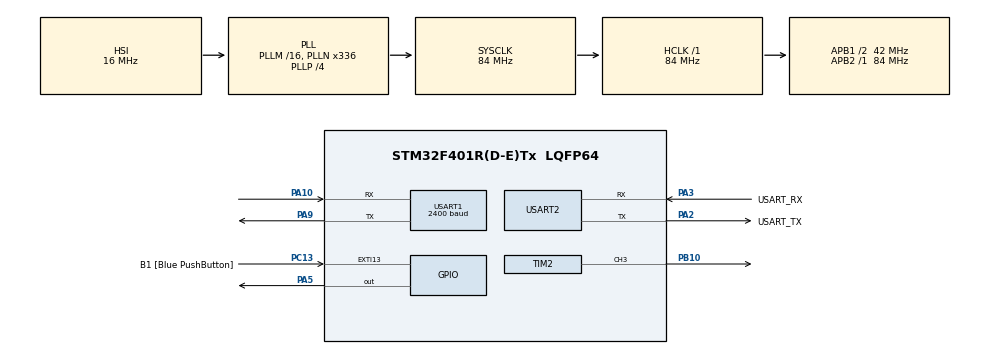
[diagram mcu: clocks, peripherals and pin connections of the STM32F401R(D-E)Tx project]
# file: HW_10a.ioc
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Mcu.Family=STM32F4
Mcu.Name=STM32F401R(D-E)Tx
Mcu.Package=LQFP64
NVIC.PriorityGroup=NVIC_PRIORITYGROUP_0
NVIC.TIM4_IRQn=true\:0\:0\:false\:false\:true\:true\:true\:true
NVIC.USART1_IRQn=true\:0\:0\:false\:false\:true\:true\:true\:true
NVIC.USART2_IRQn=true\:0\:0\:false\:false\:true\:true\:true\:true
PA10.Mode=Asynchronous
PA10.Signal=USART1_RX
PA13.GPIO_Label=TMS
PA13.Mode=Serial_Wire
PA13.Signal=SYS_JTMS-SWDIO
PA14.GPIO_Label=TCK
PA14.Mode=Serial_Wire
PA14.Signal=SYS_JTCK-SWCLK
PA2.GPIO_Label=USART_TX
PA2.GPIO_Mode=GPIO_MODE_AF_PP
PA2.GPIO_PuPd=GPIO_NOPULL
PA2.GPIO_Speed=GPIO_SPEED_FREQ_LOW
PA2.Mode=Asynchronous
PA2.Signal=USART2_TX
PA3.GPIO_Label=USART_RX
PA3.GPIO_Mode=GPIO_MODE_AF_PP
PA3.GPIO_PuPd=GPIO_NOPULL
PA3.GPIO_Speed=GPIO_SPEED_FREQ_LOW
PA3.Mode=Asynchronous
PA3.Signal=USART2_RX
PA5.GPIO_Mode=GPIO_MODE_OUTPUT_PP
PA5.GPIO_PuPd=GPIO_NOPULL
PA5.GPIO_Speed=GPIO_SPEED_FREQ_LOW
PA5.Signal=GPIO_Output
PA9.Mode=Asynchronous
PA9.Signal=USART1_TX
PB10.Signal=S_TIM2_CH3
PB3.GPIO_Label=SWO
PB3.Signal=SYS_JTDO-SWO
PC13-ANTI_TAMP.GPIO_Label=B1 [Blue PushButton]
PC13-ANTI_TAMP.GPIO_ModeDefaultEXTI=GPIO_MODE_IT_FALLING
PC13-ANTI_TAMP.GPIO_PuPd=GPIO_NOPULL
PC13-ANTI_TAMP.Signal=GPXTI13
PC14-OSC32_IN.Mode=LSE-External-Oscillator
PC14-OSC32_IN.Signal=RCC_OSC32_IN
PC15-OSC32_OUT.Mode=LSE-External-Oscillator
PC15-OSC32_OUT.Signal=RCC_OSC32_OUT
PH0\ -\ OSC_IN.Mode=HSE-External-Clock-Source
PH0\ -\ OSC_IN.Signal=RCC_OSC_IN
PH1\ -\ OSC_OUT.Mode=HSE-External-Clock-Source
PH1\ -\ OSC_OUT.Signal=RCC_OSC_OUT
ProjectManager.HeapSize=0x200
ProjectManager.StackSize=0x400
ProjectManager.TargetToolchain=STM32CubeIDE
RCC.48MHZClocksFreq_Value=48000000
RCC.AHBFreq_Value=84000000
RCC.APB1CLKDivider=RCC_HCLK_DIV2
RCC.APB1Freq_Value=42000000
RCC.APB1TimFreq_Value=84000000
RCC.APB2Freq_Value=84000000
RCC.APB2TimFreq_Value=84000000
RCC.CortexFreq_Value=84000000
RCC.HCLKFreq_Value=84000000
RCC.HSE_VALUE=8000000
RCC.HSI_VALUE=16000000
RCC.PLLN=336
RCC.PLLP=RCC_PLLP_DIV4
RCC.PLLQ=7
RCC.SYSCLKFreq_VALUE=84000000
RCC.SYSCLKSource=RCC_SYSCLKSOURCE_PLLCLK
RCC.VCOOutputFreq_Value=336000000
SH.S_TIM2_CH3.0=TIM2_CH3,PWM Generation3 CH3
TIM2.Channel-PWM\ Generation3\ CH3=TIM_CHANNEL_3
TIM2.Period=2210
TIM2.Pulse-PWM\ Generation3\ CH3=1105
TIM4.Period=34999
USART1.BaudRate=2400
USART1.Parity=PARITY_NONE
USART1.VirtualMode=VM_ASYNC
USART2.VirtualMode=VM_ASYNC
VP_TIM4_VS_ClockSourceINT.Mode=Internal
board=NUCLEO-F401RE

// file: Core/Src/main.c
/* USER CODE BEGIN Header */
/**
 ******************************************************************************
 * @file           : main.c
 * @brief          : Main program body
 ******************************************************************************
 * @attention
 *
 * Copyright (c) 2023 STMicroelectronics.
 * All rights reserved.
 *
 * This software is licensed under terms that can be found in the LICENSE file
 * in the root directory of this software component.
 * If no LICENSE file comes with this software, it is provided AS-IS.
 *
 ******************************************************************************
 */
/* USER CODE END Header */
#include "main.h"

/* USER CODE BEGIN Includes */
#include <memory.h>
/* USER CODE END Includes */

/* USER CODE BEGIN PTD */

// IR link control struct
struct IR_Ctrl
{
    int current_byte;
    int next_bit;
    uint8_t buffer[100];
    int buffer_length;
};

/* USER CODE END PTD */

TIM_HandleTypeDef htim2;
TIM_HandleTypeDef htim4;

UART_HandleTypeDef huart1;
UART_HandleTypeDef huart2;

/* USER CODE BEGIN PV */

// IR link
uint8_t uart1_buffer;
uint8_t uart2_buffer;
struct IR_Ctrl ir_ctrl;

/* USER CODE END PV */

void SystemClock_Config(void);
static void MX_GPIO_Init(void);
static void MX_USART2_UART_Init(void);
static void MX_TIM2_Init(void);
static void MX_USART1_UART_Init(void);
static void MX_TIM4_Init(void);
/* USER CODE BEGIN PFP */

void send_IR_string(uint8_t *data, int length);

/* USER CODE END PFP */

int main(void)
{

  /* MCU Configuration--------------------------------------------------------*/

  /* Reset of all peripherals, Initializes the Flash interface and the Systick. */
  HAL_Init();

  /* Configure the system clock */
  SystemClock_Config();

  /* Initialize all configured peripherals */
  MX_GPIO_Init();
  MX_USART2_UART_Init();
  MX_TIM2_Init();
  MX_USART1_UART_Init();
  MX_TIM4_Init();
  /* USER CODE BEGIN 2 */

  // Init the ir struct
  ir_ctrl.current_byte = 0;
  ir_ctrl.next_bit = -1;
  ir_ctrl.buffer_length = 0;

  // Start receiving the first byte via the IR link
  HAL_UART_Receive_IT(&huart1, &uart1_buffer, 1);

  // Start receiving the first byte from the serial terminal
  HAL_UART_Receive_IT(&huart2, &uart2_buffer, 1);

  /* USER CODE END 2 */

  /* Infinite loop */
  while (1)
  {

  }
}

void SystemClock_Config(void)
{
  RCC_OscInitTypeDef RCC_OscInitStruct = {0};
  RCC_ClkInitTypeDef RCC_ClkInitStruct = {0};

  /** Configure the main internal regulator output voltage
  */
  __HAL_RCC_PWR_CLK_ENABLE();
  __HAL_PWR_VOLTAGESCALING_CONFIG(PWR_REGULATOR_VOLTAGE_SCALE2);

  /** Initializes the RCC Oscillators according to the specified parameters
  * in the RCC_OscInitTypeDef structure.
  */
  RCC_OscInitStruct.OscillatorType = RCC_OSCILLATORTYPE_HSI;
  RCC_OscInitStruct.HSIState = RCC_HSI_ON;
  RCC_OscInitStruct.HSICalibrationValue = RCC_HSICALIBRATION_DEFAULT;
  RCC_OscInitStruct.PLL.PLLState = RCC_PLL_ON;
  RCC_OscInitStruct.PLL.PLLSource = RCC_PLLSOURCE_HSI;
  RCC_OscInitStruct.PLL.PLLM = 16;
  RCC_OscInitStruct.PLL.PLLN = 336;
  RCC_OscInitStruct.PLL.PLLP = RCC_PLLP_DIV4;
  RCC_OscInitStruct.PLL.PLLQ = 7;
  if (HAL_RCC_OscConfig(&RCC_OscInitStruct) != HAL_OK)
  {
    Error_Handler();
  }

  /** Initializes the CPU, AHB and APB buses clocks
  */
  RCC_ClkInitStruct.ClockType = RCC_CLOCKTYPE_HCLK|RCC_CLOCKTYPE_SYSCLK
                              |RCC_CLOCKTYPE_PCLK1|RCC_CLOCKTYPE_PCLK2;
  RCC_ClkInitStruct.SYSCLKSource = RCC_SYSCLKSOURCE_PLLCLK;
  RCC_ClkInitStruct.AHBCLKDivider = RCC_SYSCLK_DIV1;
  RCC_ClkInitStruct.APB1CLKDivider = RCC_HCLK_DIV2;
  RCC_ClkInitStruct.APB2CLKDivider = RCC_HCLK_DIV1;

  if (HAL_RCC_ClockConfig(&RCC_ClkInitStruct, FLASH_LATENCY_2) != HAL_OK)
  {
    Error_Handler();
  }
}

static void MX_TIM2_Init(void)
{

  TIM_MasterConfigTypeDef sMasterConfig = {0};
  TIM_OC_InitTypeDef sConfigOC = {0};

  htim2.Instance = TIM2;
  htim2.Init.Prescaler = 0;
  htim2.Init.CounterMode = TIM_COUNTERMODE_UP;
  htim2.Init.Period = 2210;
  htim2.Init.ClockDivision = TIM_CLOCKDIVISION_DIV1;
  htim2.Init.AutoReloadPreload = TIM_AUTORELOAD_PRELOAD_DISABLE;
  if (HAL_TIM_PWM_Init(&htim2) != HAL_OK)
  {
    Error_Handler();
  }
  sMasterConfig.MasterOutputTrigger = TIM_TRGO_RESET;
  sMasterConfig.MasterSlaveMode = TIM_MASTERSLAVEMODE_DISABLE;
  if (HAL_TIMEx_MasterConfigSynchronization(&htim2, &sMasterConfig) != HAL_OK)
  {
    Error_Handler();
  }
  sConfigOC.OCMode = TIM_OCMODE_PWM1;
  sConfigOC.Pulse = 1105;
  sConfigOC.OCPolarity = TIM_OCPOLARITY_HIGH;
  sConfigOC.OCFastMode = TIM_OCFAST_DISABLE;
  if (HAL_TIM_PWM_ConfigChannel(&htim2, &sConfigOC, TIM_CHANNEL_3) != HAL_OK)
  {
    Error_Handler();
  }
  HAL_TIM_MspPostInit(&htim2);

}

static void MX_TIM4_Init(void)
{

  TIM_ClockConfigTypeDef sClockSourceConfig = {0};
  TIM_MasterConfigTypeDef sMasterConfig = {0};

  htim4.Instance = TIM4;
  htim4.Init.Prescaler = 0;
  htim4.Init.CounterMode = TIM_COUNTERMODE_UP;
  htim4.Init.Period = 34999;
  htim4.Init.ClockDivision = TIM_CLOCKDIVISION_DIV1;
  htim4.Init.AutoReloadPreload = TIM_AUTORELOAD_PRELOAD_DISABLE;
  if (HAL_TIM_Base_Init(&htim4) != HAL_OK)
  {
    Error_Handler();
  }
  sClockSourceConfig.ClockSource = TIM_CLOCKSOURCE_INTERNAL;
  if (HAL_TIM_ConfigClockSource(&htim4, &sClockSourceConfig) != HAL_OK)
  {
    Error_Handler();
  }
  sMasterConfig.MasterOutputTrigger = TIM_TRGO_RESET;
  sMasterConfig.MasterSlaveMode = TIM_MASTERSLAVEMODE_DISABLE;
  if (HAL_TIMEx_MasterConfigSynchronization(&htim4, &sMasterConfig) != HAL_OK)
  {
    Error_Handler();
  }

}

static void MX_USART1_UART_Init(void)
{

  huart1.Instance = USART1;
  huart1.Init.BaudRate = 2400;
  huart1.Init.WordLength = UART_WORDLENGTH_8B;
  huart1.Init.StopBits = UART_STOPBITS_1;
  huart1.Init.Parity = UART_PARITY_NONE;
  huart1.Init.Mode = UART_MODE_TX_RX;
  huart1.Init.HwFlowCtl = UART_HWCONTROL_NONE;
  huart1.Init.OverSampling = UART_OVERSAMPLING_16;
  if (HAL_UART_Init(&huart1) != HAL_OK)
  {
    Error_Handler();
  }

}

static void MX_USART2_UART_Init(void)
{

  huart2.Instance = USART2;
  huart2.Init.BaudRate = 115200;
  huart2.Init.WordLength = UART_WORDLENGTH_8B;
  huart2.Init.StopBits = UART_STOPBITS_1;
  huart2.Init.Parity = UART_PARITY_NONE;
  huart2.Init.Mode = UART_MODE_TX_RX;
  huart2.Init.HwFlowCtl = UART_HWCONTROL_NONE;
  huart2.Init.OverSampling = UART_OVERSAMPLING_16;
  if (HAL_UART_Init(&huart2) != HAL_OK)
  {
    Error_Handler();
  }

}

static void MX_GPIO_Init(void)
{
  GPIO_InitTypeDef GPIO_InitStruct = {0};

  /* GPIO Ports Clock Enable */
  __HAL_RCC_GPIOC_CLK_ENABLE();
  __HAL_RCC_GPIOH_CLK_ENABLE();
  __HAL_RCC_GPIOA_CLK_ENABLE();
  __HAL_RCC_GPIOB_CLK_ENABLE();

  /*Configure GPIO pin Output Level */
  HAL_GPIO_WritePin(GPIOA, GPIO_PIN_5, GPIO_PIN_RESET);

  /*Configure GPIO pin : B1_Pin */
  GPIO_InitStruct.Pin = B1_Pin;
  GPIO_InitStruct.Mode = GPIO_MODE_IT_FALLING;
  GPIO_InitStruct.Pull = GPIO_NOPULL;
  HAL_GPIO_Init(B1_GPIO_Port, &GPIO_InitStruct);

  /*Configure GPIO pin : PA5 */
  GPIO_InitStruct.Pin = GPIO_PIN_5;
  GPIO_InitStruct.Mode = GPIO_MODE_OUTPUT_PP;
  GPIO_InitStruct.Pull = GPIO_NOPULL;
  GPIO_InitStruct.Speed = GPIO_SPEED_FREQ_LOW;
  HAL_GPIO_Init(GPIOA, &GPIO_InitStruct);

}

/* USER CODE BEGIN 4 */

void HAL_TIM_PeriodElapsedCallback(TIM_HandleTypeDef *htim)
{
    if (htim == &htim4)
    {
        if (ir_ctrl.current_byte >= 0 && ir_ctrl.current_byte < ir_ctrl.buffer_length)
        {
            if (ir_ctrl.next_bit == -1)
            {
                // Send the start bit (low)
                HAL_TIM_PWM_Start(&htim2, TIM_CHANNEL_3);
            }
            else if (ir_ctrl.next_bit < 8)
            {
                // Send a bit
                if (ir_ctrl.buffer[ir_ctrl.current_byte] >> ir_ctrl.next_bit & 0x1)
                {
                    // Stop the carrier to send a 1
                    HAL_TIM_PWM_Stop(&htim2, TIM_CHANNEL_3);
                }
                else
                {
                    // Start the carrier to send a 0
                    HAL_TIM_PWM_Start(&htim2, TIM_CHANNEL_3);
                }
            }
            else
            {
                // Send the STOP bit (high)
                HAL_TIM_PWM_Stop(&htim2, TIM_CHANNEL_3);
            }
            ir_ctrl.next_bit++;

            if (ir_ctrl.next_bit == 9 + 1)
            {
                // Reset the bit and increment the byte
                ir_ctrl.next_bit = -1;
                ir_ctrl.current_byte++;
            }

            // If we've reached the end of the content we reset the pointer and stop the timer
            if (ir_ctrl.current_byte == ir_ctrl.buffer_length)
            {
                ir_ctrl.current_byte = -1;
                HAL_TIM_Base_Stop_IT(&htim4);
            }
        }
    }
}

void HAL_UART_RxCpltCallback(UART_HandleTypeDef *huart)
{
    if (huart == &huart1)
    {
        // Send what we received from the IR link to the terminal
        HAL_UART_Transmit(&huart2, &uart1_buffer, 1, -1);

        // Setup the peripheral to receive another byte
        HAL_UART_Receive_IT(&huart1, &uart1_buffer, 1);
    }
    else if (huart == &huart2)
    {
        // Send what we read from the terminal through the IR link
        send_IR_string(&uart2_buffer, 1);

        // Setup the peripheral to receive another byte
        HAL_UART_Receive_IT(&huart2, &uart2_buffer, 1);
    }
}

void send_IR_string(uint8_t *data, int length)
{
    memcpy(ir_ctrl.buffer, data, length);
    ir_ctrl.buffer_length = length;
    ir_ctrl.current_byte = 0;
    ir_ctrl.next_bit = -1;

    HAL_TIM_Base_Start_IT(&htim4);
}

/* USER CODE END 4 */

void Error_Handler(void)
{
    __disable_irq();
    while (1)
    {
    }
}
